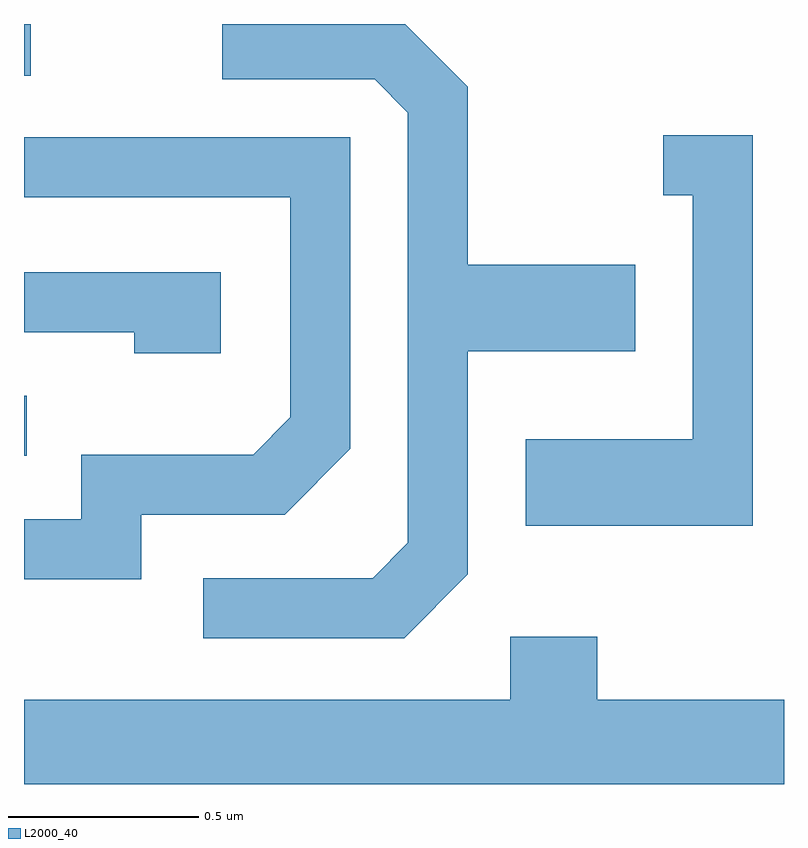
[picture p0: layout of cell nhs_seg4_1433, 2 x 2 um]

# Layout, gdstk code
import gdstk
lib = gdstk.Library(unit=1e-6, precision=1e-09)
def R(c, l, rs):  # rectangles x0, y0, x1, y1
    for r in rs: c.add(gdstk.rectangle(r[:2], r[2:], *l))
def P(c, l, *ps):  # polygons
    for p in ps: c.add(gdstk.Polygon(p, *l))
L2000_40 = (2000, 40)

nhs_seg4_1433 = lib.new_cell('nhs_seg4_1433')
R(nhs_seg4_1433, L2000_40, [(195.611,1317.846,195.618,1318.004), (195.611,1318.846,195.629,1318.982)])
P(nhs_seg4_1433, L2000_40, [(196.779,1317.534),(196.779,1318.121),(197.219,1318.121),(197.219,1318.349),(196.779,1318.349),(196.779,1318.817),(196.614,1318.982),(196.133,1318.982),(196.133,1318.836),(196.534,1318.836),(196.621,1318.749),(196.621,1317.617),(196.529,1317.524),(196.083,1317.524),(196.083,1317.366),(196.612,1317.366)],
  [(197.529,1318.689),(197.293,1318.689),(197.293,1318.531),(197.371,1318.531),(197.371,1317.889),(196.931,1317.889),(196.931,1317.661),(197.529,1317.661)],
  [(195.919,1317.691),(196.297,1317.691),(196.469,1317.864),(196.469,1318.684),(195.611,1318.684),(195.611,1318.526),(196.311,1318.526),(196.311,1317.947),(196.214,1317.849),(195.761,1317.849),(195.761,1317.679),(195.611,1317.679),(195.611,1317.521),(195.919,1317.521)],
  [(196.129,1318.329),(195.611,1318.329),(195.611,1318.171),(195.901,1318.171),(195.901,1318.116),(196.129,1318.116)],
  [(197.611,1317.204),(197.119,1317.204),(197.119,1317.369),(196.891,1317.369),(196.891,1317.204),(195.611,1317.204),(195.611,1316.982),(197.611,1316.982)])

lib.write_gds('nhs_seg4_1433.gds')
